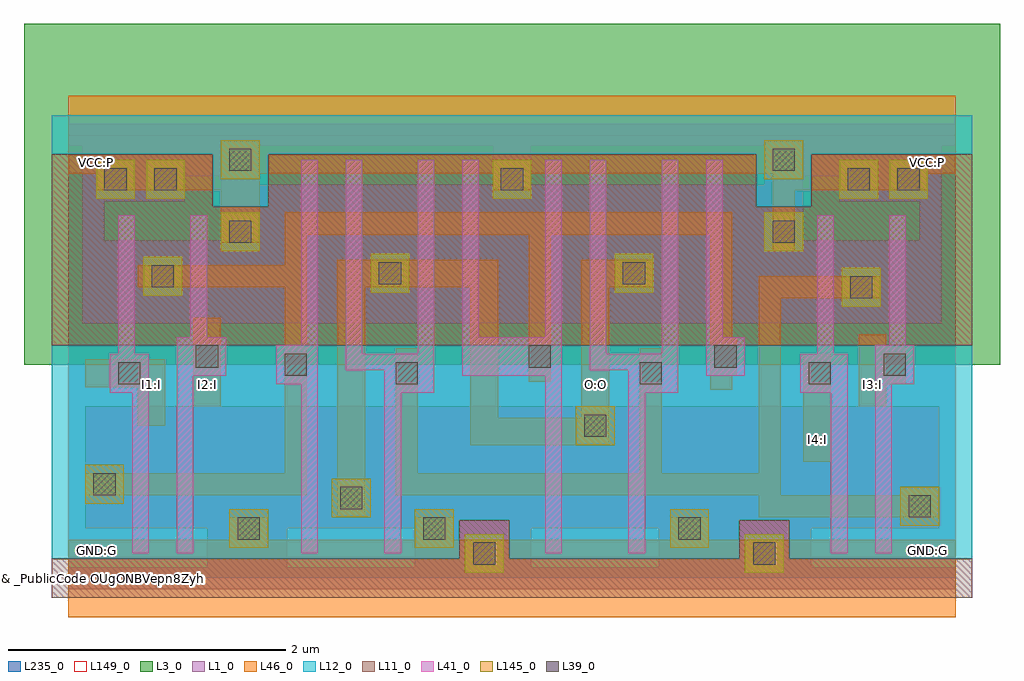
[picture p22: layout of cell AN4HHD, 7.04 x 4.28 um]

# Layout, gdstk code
from math import pi, radians
import gdstk
lib = gdstk.Library(unit=1e-6, precision=1e-09)
def R(c, l, rs):  # rectangles x0, y0, x1, y1
    for r in rs: c.add(gdstk.rectangle(r[:2], r[2:], *l))
def P(c, l, *ps):  # polygons
    for p in ps: c.add(gdstk.Polygon(p, *l))
L1_0 = (1, 0)
L3_0 = (3, 0)
L11_0 = (11, 0)
L12_0 = (12, 0)
L39_0 = (39, 0)
L41_0 = (41, 0)
L46_0 = (46, 0)
L145_0 = (145, 0)
L149_0 = (149, 0)
L235_0 = (235, 0)

c_mc = lib.new_cell('MC')
R(c_mc, L39_0, [(-0.08,-0.08,0.08,0.08)])
R(c_mc, L46_0, [(-0.08,-0.14,0.08,0.14)])
R(c_mc, L145_0, [(-0.14,-0.14,0.14,0.14)])

c_pc = lib.new_cell('PC')
R(c_pc, L39_0, [(-0.08,-0.08,0.08,0.08)])
R(c_pc, L41_0, [(-0.14,-0.14,0.14,0.14)])
R(c_pc, L46_0, [(-0.08,-0.14,0.08,0.14)])

ailenmmmcdh__41gum4xw0 = lib.new_cell('AILENMMMCDH$$41Gum4XW0')
R(ailenmmmcdh__41gum4xw0, L1_0, [(0,-0.08,6.4,0.08), (5.36,0.36,6.28,1.24), (0.84,2.9,1.1,3.12), (5.3,2.9,5.56,3.12), (0,3.12,6.4,3.28)])
P(ailenmmmcdh__41gum4xw0, L1_0, [(6.3,3.12),(5.56,3.12),(5.56,2.72),(6.14,2.72),(6.14,2.44),(5.3,2.44),(5.3,3.12),(5.02,3.12),(5.02,2.84),(3.34,2.84),(3.34,3.12),(3.06,3.12),(3.06,2.84),(1.38,2.84),(1.38,3.12),(1.1,3.12),(1.1,2.44),(0.26,2.44),(0.26,2.72),(0.84,2.72),(0.84,3.12),(0.1,3.12),(0.1,1.84),(6.3,1.84)],
  [(5.36,1.24),(0.12,1.24),(0.12,0.36),(1,0.36),(1,0.08),(1.58,0.08),(1.58,0.36),(2.5,0.36),(2.5,0.08),(3.34,0.08),(3.34,0.36),(4.26,0.36),(4.26,0.08),(5.36,0.08)])
R(ailenmmmcdh__41gum4xw0, L3_0, [(-0.32,1.54,6.72,4)])
R(ailenmmmcdh__41gum4xw0, L11_0, [(-0.12,-0.14,6.52,0.14), (2.82,0.14,3.18,0.42), (4.84,0.14,5.2,0.42)])
P(ailenmmmcdh__41gum4xw0, L11_0, [(6.52,3.06),(5.36,3.06),(5.36,2.68),(4.96,2.68),(4.96,3.06),(1.44,3.06),(1.44,2.68),(1.04,2.68),(1.04,3.06),(-0.12,3.06),(-0.12,1.68),(6.52,1.68)])
P(ailenmmmcdh__41gum4xw0, L12_0, [(6.52,3.34),(-0.12,3.34),(-0.12,3.06),(1.04,3.06),(1.04,2.68),(1.44,2.68),(1.44,3.06),(4.96,3.06),(4.96,2.68),(5.36,2.68),(5.36,3.06),(6.52,3.06)],
  [(6.52,1.68),(-0.12,1.68),(-0.12,0.14),(2.82,0.14),(2.82,0.42),(3.18,0.42),(3.18,0.14),(4.84,0.14),(4.84,0.42),(5.2,0.42),(5.2,0.14),(6.52,0.14)])
R(ailenmmmcdh__41gum4xw0, L41_0, [(2.84,1.46,3.56,1.74)])
R(ailenmmmcdh__41gum4xw0, L46_0, [(6,0.44,6.28,0.66), (5.08,2.36,5.24,2.92), (1.1,2.58,1.38,2.8), (0.32,2.8,1.38,2.92), (5.08,2.8,6.2,2.92)])
R(ailenmmmcdh__41gum4xw0, L149_0, [(0,0,6.4,3.2)])
R(ailenmmmcdh__41gum4xw0, L235_0, [(0,0,6.4,3.2), (0,0,6.4,3.2), (0,0,6.4,3.2), (0,0,6.4,3.2), (0,0,6.4,3.2), (0,0,6.4,3.2), (0,0,6.4,3.2), (0,0,6.4,3.2), (0,0,6.4,3.2), (0,0,6.4,3.2), (0,0,6.4,3.2), (0,0,6.4,3.2)])
ailenmmmcdh__41gum4xw0.add(gdstk.FlexPath([(0,0),(6.4,0)], 0.56, ends="flush", simple_path=True, layer=46, datatype=0))  # L46_0
ailenmmmcdh__41gum4xw0.add(gdstk.FlexPath([(0,3.2),(6.4,3.2)], 0.56, ends="flush", simple_path=True, layer=46, datatype=0))  # L46_0
ailenmmmcdh__41gum4xw0.add(gdstk.FlexPath([(0.12,1.48),(0.7,1.48)], 0.2, ends="flush", simple_path=True, layer=46, datatype=0))  # L46_0
ailenmmmcdh__41gum4xw0.add(gdstk.FlexPath([(3.4,2.56),(4.71,2.56),(4.71,1.36)], 0.16, ends="flush", simple_path=True, layer=46, datatype=0))  # L46_0
ailenmmmcdh__41gum4xw0.add(gdstk.FlexPath([(4.2,0.6),(4.2,1.66)], 0.16, ends="flush", simple_path=True, layer=46, datatype=0))  # L46_0
ailenmmmcdh__41gum4xw0.add(gdstk.FlexPath([(5.4,0.84),(5.4,1.62)], 0.2, ends="flush", simple_path=True, layer=46, datatype=0))  # L46_0
ailenmmmcdh__41gum4xw0.add(gdstk.FlexPath([(5.8,1.24),(5.8,1.76)], 0.2, ends="flush", simple_path=True, layer=46, datatype=0))  # L46_0
ailenmmmcdh__41gum4xw0.add(gdstk.FlexPath([(2.44,1.66),(2.44,0.68),(5.06,0.68),(5.06,0.52),(6.28,0.52)], 0.16, ends="flush", simple_path=True, layer=46, datatype=0))  # L46_0
ailenmmmcdh__41gum4xw0.add(gdstk.FlexPath([(1.64,2.12),(1.64,2.56),(3.4,2.56),(3.4,1.42)], 0.16, ends="flush", simple_path=True, layer=46, datatype=0))  # L46_0
ailenmmmcdh__41gum4xw0.add(gdstk.FlexPath([(1,1.24),(1,1.88)], 0.2, ends="flush", simple_path=True, layer=46, datatype=0))  # L46_0
ailenmmmcdh__41gum4xw0.add(gdstk.FlexPath([(0.6,1.1),(0.6,1.56)], 0.2, ends="flush", simple_path=True, layer=46, datatype=0))  # L46_0
ailenmmmcdh__41gum4xw0.add(gdstk.FlexPath([(4.22,2.2),(3.8,2.2),(3.8,1.06),(3,1.06),(3,2.2),(2.04,2.2),(2.04,0.44)], 0.2, ends="flush", simple_path=True, layer=46, datatype=0))  # L46_0
ailenmmmcdh__41gum4xw0.add(gdstk.FlexPath([(5.86,2.1),(5.06,2.1),(5.06,0.44)], 0.16, ends="flush", simple_path=True, layer=46, datatype=0))  # L46_0
ailenmmmcdh__41gum4xw0.add(gdstk.FlexPath([(0.5,2.18),(1.64,2.18),(1.64,0.68),(0.12,0.68)], 0.16, ends="flush", simple_path=True, layer=46, datatype=0))  # L46_0
ailenmmmcdh__41gum4xw0.add(gdstk.FlexPath([(0.6,0),(0.6,3.2)], 0, ends="flush", simple_path=True, layer=145, datatype=0))  # L145_0
ailenmmmcdh__41gum4xw0.add(gdstk.FlexPath([(1,0),(1,3.2)], 0, ends="flush", simple_path=True, layer=145, datatype=0))  # L145_0
ailenmmmcdh__41gum4xw0.add(gdstk.FlexPath([(1.4,0),(1.4,3.2)], 0, ends="flush", simple_path=True, layer=145, datatype=0))  # L145_0
ailenmmmcdh__41gum4xw0.add(gdstk.FlexPath([(1.8,0),(1.8,3.2)], 0, ends="flush", simple_path=True, layer=145, datatype=0))  # L145_0
ailenmmmcdh__41gum4xw0.add(gdstk.FlexPath([(3,0),(3,3.2)], 0, ends="flush", simple_path=True, layer=145, datatype=0))  # L145_0
ailenmmmcdh__41gum4xw0.add(gdstk.FlexPath([(3.4,0),(3.4,3.2)], 0, ends="flush", simple_path=True, layer=145, datatype=0))  # L145_0
ailenmmmcdh__41gum4xw0.add(gdstk.FlexPath([(3.8,0),(3.8,3.2)], 0, ends="flush", simple_path=True, layer=145, datatype=0))  # L145_0
ailenmmmcdh__41gum4xw0.add(gdstk.FlexPath([(4.2,0),(4.2,3.2)], 0, ends="flush", simple_path=True, layer=145, datatype=0))  # L145_0
ailenmmmcdh__41gum4xw0.add(gdstk.FlexPath([(4.6,0),(4.6,3.2)], 0, ends="flush", simple_path=True, layer=145, datatype=0))  # L145_0
ailenmmmcdh__41gum4xw0.add(gdstk.FlexPath([(0,1),(6.4,1)], 0, ends="flush", simple_path=True, layer=145, datatype=0))  # L145_0
ailenmmmcdh__41gum4xw0.add(gdstk.FlexPath([(0,0.2),(6.4,0.2)], 0, ends="flush", simple_path=True, layer=145, datatype=0))  # L145_0
ailenmmmcdh__41gum4xw0.add(gdstk.FlexPath([(6.2,0),(6.2,3.2)], 0, ends="flush", simple_path=True, layer=145, datatype=0))  # L145_0
ailenmmmcdh__41gum4xw0.add(gdstk.FlexPath([(5.8,0),(5.8,3.2)], 0, ends="flush", simple_path=True, layer=145, datatype=0))  # L145_0
ailenmmmcdh__41gum4xw0.add(gdstk.FlexPath([(5.4,0),(5.4,3.2)], 0, ends="flush", simple_path=True, layer=145, datatype=0))  # L145_0
ailenmmmcdh__41gum4xw0.add(gdstk.FlexPath([(5,0),(5,3.2)], 0, ends="flush", simple_path=True, layer=145, datatype=0))  # L145_0
ailenmmmcdh__41gum4xw0.add(gdstk.FlexPath([(0,3),(6.4,3)], 0, ends="flush", simple_path=True, layer=145, datatype=0))  # L145_0
ailenmmmcdh__41gum4xw0.add(gdstk.FlexPath([(0,2.6),(6.4,2.6)], 0, ends="flush", simple_path=True, layer=145, datatype=0))  # L145_0
ailenmmmcdh__41gum4xw0.add(gdstk.FlexPath([(0,2.2),(6.4,2.2)], 0, ends="flush", simple_path=True, layer=145, datatype=0))  # L145_0
ailenmmmcdh__41gum4xw0.add(gdstk.FlexPath([(0,1.8),(6.4,1.8)], 0, ends="flush", simple_path=True, layer=145, datatype=0))  # L145_0
ailenmmmcdh__41gum4xw0.add(gdstk.FlexPath([(0,1.4),(6.4,1.4)], 0, ends="flush", simple_path=True, layer=145, datatype=0))  # L145_0
ailenmmmcdh__41gum4xw0.add(gdstk.FlexPath([(0.2,0),(0.2,3.2)], 0, ends="flush", simple_path=True, layer=145, datatype=0))  # L145_0
ailenmmmcdh__41gum4xw0.add(gdstk.FlexPath([(0,0.6),(6.4,0.6)], 0, ends="flush", simple_path=True, layer=145, datatype=0))  # L145_0
ailenmmmcdh__41gum4xw0.add(gdstk.FlexPath([(2.2,0),(2.2,3.2)], 0, ends="flush", simple_path=True, layer=145, datatype=0))  # L145_0
ailenmmmcdh__41gum4xw0.add(gdstk.FlexPath([(2.6,0),(2.6,3.2)], 0, ends="flush", simple_path=True, layer=145, datatype=0))  # L145_0
ailenmmmcdh__41gum4xw0.add(gdstk.FlexPath([(0.94,2.62),(0.94,1.68),(0.84,1.68),(0.84,0.18)], 0.12, ends="flush", simple_path=True, layer=41, datatype=0))  # L41_0
ailenmmmcdh__41gum4xw0.add(gdstk.FlexPath([(3.5,0.18),(3.5,3.02)], 0.12, ends="flush", simple_path=True, layer=41, datatype=0))  # L41_0
ailenmmmcdh__41gum4xw0.add(gdstk.FlexPath([(5.46,2.62),(5.46,1.56),(5.56,1.56),(5.56,0.18)], 0.12, ends="flush", simple_path=True, layer=41, datatype=0))  # L41_0
ailenmmmcdh__41gum4xw0.add(gdstk.FlexPath([(5.98,2.62),(5.98,1.62),(5.88,1.62),(5.88,0.18)], 0.12, ends="flush", simple_path=True, layer=41, datatype=0))  # L41_0
ailenmmmcdh__41gum4xw0.add(gdstk.FlexPath([(2.06,3.02),(2.06,1.56),(2.34,1.56),(2.34,0.18)], 0.12, ends="flush", simple_path=True, layer=41, datatype=0))  # L41_0
ailenmmmcdh__41gum4xw0.add(gdstk.FlexPath([(3.82,3.02),(3.82,1.56),(4.1,1.56),(4.1,0.18)], 0.12, ends="flush", simple_path=True, layer=41, datatype=0))  # L41_0
ailenmmmcdh__41gum4xw0.add(gdstk.FlexPath([(4.34,1.34),(4.34,3.02)], 0.12, ends="flush", simple_path=True, layer=41, datatype=0))  # L41_0
ailenmmmcdh__41gum4xw0.add(gdstk.FlexPath([(4.66,1.56),(4.66,3.02)], 0.12, ends="flush", simple_path=True, layer=41, datatype=0))  # L41_0
ailenmmmcdh__41gum4xw0.add(gdstk.FlexPath([(2.9,1.46),(2.9,3.02)], 0.12, ends="flush", simple_path=True, layer=41, datatype=0))  # L41_0
ailenmmmcdh__41gum4xw0.add(gdstk.FlexPath([(2.58,1.34),(2.58,3.02)], 0.12, ends="flush", simple_path=True, layer=41, datatype=0))  # L41_0
ailenmmmcdh__41gum4xw0.add(gdstk.FlexPath([(0.42,2.62),(0.42,1.5),(0.52,1.5),(0.52,0.18)], 0.12, ends="flush", simple_path=True, layer=41, datatype=0))  # L41_0
ailenmmmcdh__41gum4xw0.add(gdstk.FlexPath([(1.74,0.18),(1.74,3.02)], 0.12, ends="flush", simple_path=True, layer=41, datatype=0))  # L41_0
r = gdstk.Reference(c_mc, (0.34,2.88), rotation=pi/2); r.repetition = gdstk.Repetition(1, 1, v1=(0,0.28), v2=(-0.32,0)); ailenmmmcdh__41gum4xw0.add(r)
r = gdstk.Reference(c_mc, (0.26,0.68), rotation=pi/2); r.repetition = gdstk.Repetition(1, 1, v1=(0,0.28), v2=(-0.32,0)); ailenmmmcdh__41gum4xw0.add(r)
r = gdstk.Reference(c_mc, (2.04,0.58)); r.repetition = gdstk.Repetition(1, 1, v1=(0.28,0), v2=(0,0.32)); ailenmmmcdh__41gum4xw0.add(r)
r = gdstk.Reference(c_mc, (0.7,2.88), rotation=pi/2); r.repetition = gdstk.Repetition(1, 1, v1=(0,0.28), v2=(-0.32,0)); ailenmmmcdh__41gum4xw0.add(r)
r = gdstk.Reference(c_mc, (1.24,2.5), rotation=pi/2, x_reflection=True); r.repetition = gdstk.Repetition(1, 1, v1=(0,0.28), v2=(0.32,0)); ailenmmmcdh__41gum4xw0.add(r)
r = gdstk.Reference(c_mc, (1.3,0.36), rotation=pi/2); r.repetition = gdstk.Repetition(1, 1, v1=(0,0.28), v2=(-0.32,0)); ailenmmmcdh__41gum4xw0.add(r)
r = gdstk.Reference(c_mc, (5.16,2.5), rotation=pi, x_reflection=True); r.repetition = gdstk.Repetition(1, 1, v1=(-0.28,0), v2=(0,0.32)); ailenmmmcdh__41gum4xw0.add(r)
r = gdstk.Reference(c_mc, (2.32,2.2), rotation=pi/2); r.repetition = gdstk.Repetition(1, 1, v1=(0,0.28), v2=(-0.32,0)); ailenmmmcdh__41gum4xw0.add(r)
r = gdstk.Reference(c_mc, (6.06,2.88), rotation=pi/2, x_reflection=True); r.repetition = gdstk.Repetition(1, 1, v1=(0,0.28), v2=(0.32,0)); ailenmmmcdh__41gum4xw0.add(r)
r = gdstk.Reference(c_mc, (6.14,0.52), rotation=pi/2, x_reflection=True); r.repetition = gdstk.Repetition(1, 1, v1=(0,0.28), v2=(0.32,0)); ailenmmmcdh__41gum4xw0.add(r)
r = gdstk.Reference(c_mc, (5.7,2.88), rotation=pi/2, x_reflection=True); r.repetition = gdstk.Repetition(1, 1, v1=(0,0.28), v2=(0.32,0)); ailenmmmcdh__41gum4xw0.add(r)
r = gdstk.Reference(c_mc, (5.16,3.02), rotation=pi/2, x_reflection=True); r.repetition = gdstk.Repetition(1, 1, v1=(0,0.28), v2=(0.32,0)); ailenmmmcdh__41gum4xw0.add(r)
r = gdstk.Reference(c_mc, (1.24,3.02), rotation=pi/2, x_reflection=True); r.repetition = gdstk.Repetition(1, 1, v1=(0,0.28), v2=(0.32,0)); ailenmmmcdh__41gum4xw0.add(r)
r = gdstk.Reference(c_mc, (4.48,0.36), rotation=pi/2, x_reflection=True); r.repetition = gdstk.Repetition(1, 1, v1=(0,0.28), v2=(0.32,0)); ailenmmmcdh__41gum4xw0.add(r)
r = gdstk.Reference(c_mc, (5.02,0.18), rotation=pi/2); r.repetition = gdstk.Repetition(1, 1, v1=(0,0.28), v2=(-0.32,0)); ailenmmmcdh__41gum4xw0.add(r)
r = gdstk.Reference(c_mc, (5.72,2.1), rotation=pi/2); r.repetition = gdstk.Repetition(1, 1, v1=(0,0.28), v2=(-0.32,0)); ailenmmmcdh__41gum4xw0.add(r)
r = gdstk.Reference(c_mc, (4.08,2.2), rotation=pi/2); r.repetition = gdstk.Repetition(1, 1, v1=(0,0.28), v2=(-0.32,0)); ailenmmmcdh__41gum4xw0.add(r)
r = gdstk.Reference(c_mc, (3.8,1.1)); r.repetition = gdstk.Repetition(1, 1, v1=(0.28,0), v2=(0,0.32)); ailenmmmcdh__41gum4xw0.add(r)
r = gdstk.Reference(c_mc, (3.2,2.88), rotation=pi/2, x_reflection=True); r.repetition = gdstk.Repetition(1, 1, v1=(0,0.28), v2=(0.32,0)); ailenmmmcdh__41gum4xw0.add(r)
r = gdstk.Reference(c_mc, (2.64,0.36), rotation=pi/2, x_reflection=True); r.repetition = gdstk.Repetition(1, 1, v1=(0,0.28), v2=(0.32,0)); ailenmmmcdh__41gum4xw0.add(r)
r = gdstk.Reference(c_mc, (3,0.18), rotation=pi/2); r.repetition = gdstk.Repetition(1, 1, v1=(0,0.28), v2=(-0.32,0)); ailenmmmcdh__41gum4xw0.add(r)
r = gdstk.Reference(c_mc, (0.68,2.18), rotation=pi/2); r.repetition = gdstk.Repetition(1, 1, v1=(0,0.28), v2=(-0.32,0)); ailenmmmcdh__41gum4xw0.add(r)
r = gdstk.Reference(c_pc, (1,1.6)); r.repetition = gdstk.Repetition(1, 1, v1=(0.28,0), v2=(0,0.32)); ailenmmmcdh__41gum4xw0.add(r)
r = gdstk.Reference(c_pc, (0.44,1.48), rotation=pi/2); r.repetition = gdstk.Repetition(1, 1, v1=(0,0.28), v2=(-0.32,0)); ailenmmmcdh__41gum4xw0.add(r)
r = gdstk.Reference(c_pc, (1.64,1.54)); r.repetition = gdstk.Repetition(1, 1, v1=(0.28,0), v2=(0,0.32)); ailenmmmcdh__41gum4xw0.add(r)
r = gdstk.Reference(c_pc, (3.4,1.6), rotation=pi, x_reflection=True); r.repetition = gdstk.Repetition(1, 1, v1=(-0.28,0), v2=(0,0.32)); ailenmmmcdh__41gum4xw0.add(r)
r = gdstk.Reference(c_pc, (5.96,1.54)); r.repetition = gdstk.Repetition(1, 1, v1=(0.28,0), v2=(0,0.32)); ailenmmmcdh__41gum4xw0.add(r)
r = gdstk.Reference(c_pc, (2.44,1.48), rotation=pi, x_reflection=True); r.repetition = gdstk.Repetition(1, 1, v1=(-0.28,0), v2=(0,0.32)); ailenmmmcdh__41gum4xw0.add(r)
r = gdstk.Reference(c_pc, (5.42,1.48), rotation=pi, x_reflection=True); r.repetition = gdstk.Repetition(1, 1, v1=(-0.28,0), v2=(0,0.32)); ailenmmmcdh__41gum4xw0.add(r)
r = gdstk.Reference(c_pc, (4.2,1.48), rotation=pi, x_reflection=True); r.repetition = gdstk.Repetition(1, 1, v1=(-0.28,0), v2=(0,0.32)); ailenmmmcdh__41gum4xw0.add(r)
r = gdstk.Reference(c_pc, (4.74,1.6), rotation=pi, x_reflection=True); r.repetition = gdstk.Repetition(1, 1, v1=(-0.28,0), v2=(0,0.32)); ailenmmmcdh__41gum4xw0.add(r)
ailenmmmcdh__41gum4xw0.add(gdstk.Label('#Id:7JQJaQKD4XF6RXVVbbbPNLABMd99ZLLaK99JL0306AKC574:4A3EOSP8MXXWHY99T6WBH22210RAL9', (0.02,0.02), layer=147, texttype=0))
ailenmmmcdh__41gum4xw0.add(gdstk.Label('AN4HHD', (0,0), layer=144, texttype=0))
ailenmmmcdh__41gum4xw0.add(gdstk.Label('VCC:P', (0.2,3), layer=101, texttype=0))
ailenmmmcdh__41gum4xw0.add(gdstk.Label('VCC:P', (6.2,3), layer=101, texttype=0))
ailenmmmcdh__41gum4xw0.add(gdstk.Label('GND:G', (0.2,0.2), layer=101, texttype=0))
ailenmmmcdh__41gum4xw0.add(gdstk.Label('GND:G', (6.2,0.2), layer=101, texttype=0))
ailenmmmcdh__41gum4xw0.add(gdstk.Label('I4:I', (5.4,1), layer=101, texttype=0))
ailenmmmcdh__41gum4xw0.add(gdstk.Label('I3:I', (5.8,1.4), layer=101, texttype=0))
ailenmmmcdh__41gum4xw0.add(gdstk.Label('O:O', (3.8,1.4), layer=101, texttype=0))
ailenmmmcdh__41gum4xw0.add(gdstk.Label('I2:I', (1,1.4), layer=101, texttype=0))
ailenmmmcdh__41gum4xw0.add(gdstk.Label('I1:I', (0.6,1.4), layer=101, texttype=0))

an4hhd = lib.new_cell('AN4HHD')
R(an4hhd, L149_0, [(0,0,6.4,3.2)])
an4hhd.add(gdstk.Reference(ailenmmmcdh__41gum4xw0, (0,0)))
an4hhd.add(gdstk.Label('& _PublicCode OUgONBVepn8Zyhuhb7nzKSFGv0ozQ4p7', (0,0), layer=3, texttype=0))
an4hhd.add(gdstk.Label('& Metric 20.48', (0,0), layer=3, texttype=0))
an4hhd.add(gdstk.Label('& Version 2009Q1V3.0', (0,0), layer=3, texttype=0))
an4hhd.add(gdstk.Label('& Product FSC0H_D_GENERIC_CORE', (0,0), layer=3, texttype=0))
an4hhd.add(gdstk.Label('& Vendor Faraday_Technology_Corp.', (0,0), layer=3, texttype=0))
an4hhd.add(gdstk.Label('#Id:7JQJaQKD4XF6RXVVbbbPNLABMd99ZLLaK99JL0306AKC574:4A3EOSP8MXXWHY99T6WBH22210RAL9', (0.02,0.02), layer=147, texttype=0))
an4hhd.add(gdstk.Label('AN4HHD', (0,0), layer=144, texttype=0))
an4hhd.add(gdstk.Label('VCC:P', (0.2,3), layer=101, texttype=0))
an4hhd.add(gdstk.Label('VCC:P', (6.2,3), layer=101, texttype=0))
an4hhd.add(gdstk.Label('GND:G', (0.2,0.2), layer=101, texttype=0))
an4hhd.add(gdstk.Label('GND:G', (6.2,0.2), layer=101, texttype=0))
an4hhd.add(gdstk.Label('I4:I', (5.4,1), layer=101, texttype=0))
an4hhd.add(gdstk.Label('I3:I', (5.8,1.4), layer=101, texttype=0))
an4hhd.add(gdstk.Label('O:O', (3.8,1.4), layer=101, texttype=0))
an4hhd.add(gdstk.Label('I2:I', (1,1.4), layer=101, texttype=0))
an4hhd.add(gdstk.Label('I1:I', (0.6,1.4), layer=101, texttype=0))

lib.write_gds('AN4HHD.gds')
